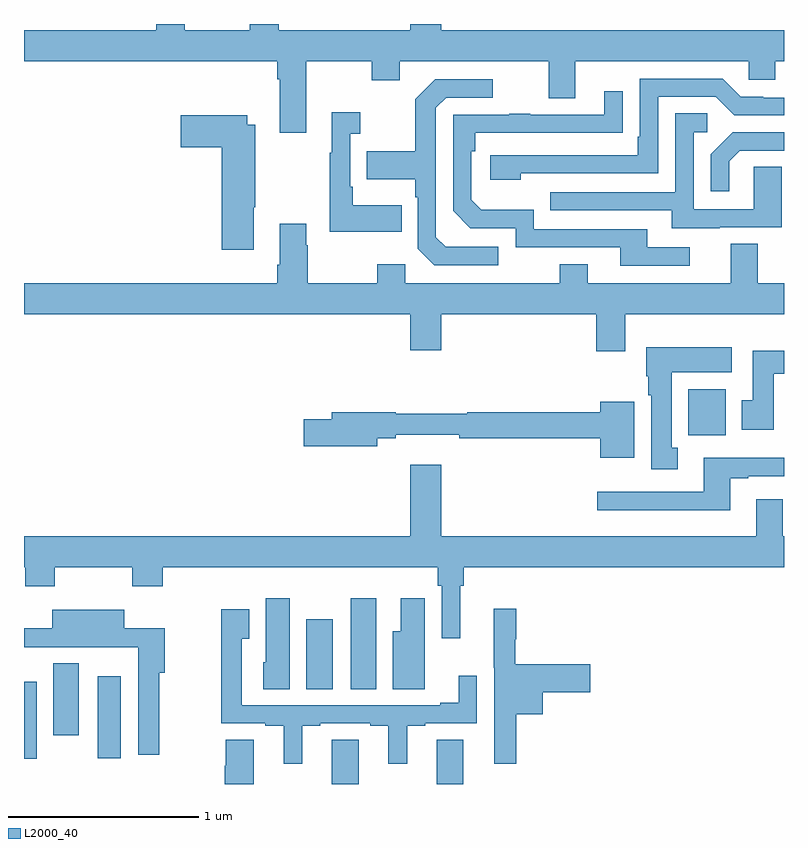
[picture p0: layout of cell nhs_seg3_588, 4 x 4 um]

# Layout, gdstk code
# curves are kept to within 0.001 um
import gdstk
lib = gdstk.Library(unit=1e-6, precision=1e-09)
def R(c, l, rs):  # rectangles x0, y0, x1, y1
    for r in rs: c.add(gdstk.rectangle(r[:2], r[2:], *l))
def P(c, l, *ps):  # polygons
    for p in ps: c.add(gdstk.Polygon(p, *l))
L2000_40 = (2000, 40)

nhs_seg3_588 = lib.new_cell('nhs_seg3_588')
R(nhs_seg3_588, L2000_40, [(140.621,742.4,140.761,742.634), (141.173,742.4,141.313,742.634), (139,742.533,139.066,742.939), (139.388,742.536,139.51,742.966), (139.154,742.656,139.288,743.035), (140.486,742.9,140.626,743.266), (140.72,742.9,140.854,743.377), (142.496,744.236,142.693,744.478)])
P(nhs_seg3_588, L2000_40, [(140.485,746.204),(140.83,746.204),(140.83,746.105),(140.977,746.105),(140.977,746.204),(141.761,746.204),(141.761,746.01),(141.901,746.01),(141.901,746.204),(142.815,746.204),(142.815,746.106),(142.953,746.106),(142.953,746.204),(143,746.204),(143,746.368),(141.196,746.368),(141.196,746.4),(141.032,746.4),(141.032,746.368),(140.342,746.368),(140.342,746.4),(140.189,746.4),(140.189,746.368),(139.845,746.368),(139.845,746.4),(139.697,746.4),(139.697,746.368),(139,746.368),(139,746.204),(140.333,746.204),(140.333,746.108),(140.345,746.108),(140.345,745.827),(140.485,745.827)],
  [(141.614,745.614),(142.338,745.614),(142.338,746.016),(142.641,746.016),(142.737,745.92),(143,745.92),(143,746.013),(142.892,746.013),(142.892,746.016),(142.773,746.016),(142.677,746.112),(142.242,746.112),(142.242,745.807),(142.229,745.807),(142.229,745.71),(141.453,745.71),(141.453,745.58),(141.614,745.58)],
  [(141.496,745.227),(141.219,745.227),(141.168,745.278),(141.168,745.959),(141.222,746.013),(141.466,746.013),(141.466,746.109),(141.165,746.109),(141.06,746.003),(141.06,745.731),(140.803,745.731),(140.803,745.583),(141.06,745.583),(141.06,745.487),(141.072,745.487),(141.072,745.218),(141.159,745.131),(141.496,745.131)],
  [(142.504,745.224),(142.279,745.224),(142.279,745.32),(141.684,745.32),(141.684,745.423),(141.407,745.423),(141.354,745.476),(141.354,745.73),(141.374,745.73),(141.374,745.827),(142.151,745.828),(142.151,746.047),(142.055,746.047),(142.055,745.923),(141.665,745.923),(141.665,745.928),(141.553,745.928),(141.553,745.923),(141.258,745.923),(141.258,745.416),(141.348,745.326),(141.588,745.326),(141.588,745.224),(142.139,745.224),(142.139,745.128),(142.504,745.128)],
  [(140.987,745.447),(140.731,745.447),(140.731,745.543),(140.718,745.543),(140.718,745.823),(140.77,745.823),(140.77,745.936),(140.621,745.936),(140.621,745.723),(140.61,745.723),(140.61,745.307),(140.987,745.307)],
  [(142.663,745.329),(142.987,745.329),(142.987,745.649),(142.842,745.649),(142.842,745.425),(142.524,745.425),(142.524,745.83),(142.597,745.83),(142.597,745.931),(142.428,745.931),(142.428,745.515),(141.769,745.515),(141.769,745.419),(142.409,745.419),(142.409,745.325),(142.663,745.325)],
  [(140.209,745.435),(140.217,745.435),(140.217,745.87),(140.176,745.87),(140.176,745.921),(139.824,745.921),(139.824,745.751),(140.042,745.751),(140.042,745.212),(140.209,745.212)],
  [(142.711,745.677),(142.768,745.734),(143,745.734),(143,745.83),(142.73,745.83),(142.614,745.714),(142.614,745.521),(142.711,745.521)],
  [(142.165,744.872),(143,744.872),(143,745.036),(142.861,745.036),(142.861,745.244),(142.721,745.244),(142.721,745.036),(141.967,745.036),(141.967,745.135),(141.82,745.135),(141.82,745.036),(141.006,745.036),(141.006,745.135),(140.86,745.135),(140.86,745.036),(140.493,745.036),(140.493,745.235),(140.485,745.235),(140.485,745.348),(140.345,745.348),(140.345,745.132),(140.333,745.132),(140.333,745.036),(139,745.036),(139,744.872),(141.032,744.872),(141.032,744.684),(141.196,744.684),(141.196,744.872),(142.013,744.872),(142.013,744.678),(142.165,744.678)],
  [(142.441,744.17),(142.408,744.17),(142.408,744.566),(142.726,744.566),(142.726,744.7),(142.274,744.7),(142.274,744.546),(142.286,744.546),(142.286,744.446),(142.301,744.446),(142.301,744.057),(142.441,744.057)],
  [(142.945,744.56),(143,744.56),(143,744.679),(142.835,744.679),(142.835,744.42),(142.778,744.42),(142.778,744.264),(142.945,744.264)],
  [(142.213,744.412),(142.034,744.412),(142.034,744.356),(141.332,744.356),(141.332,744.349),(140.956,744.349),(140.956,744.356),(140.621,744.356),(140.621,744.32),(140.472,744.32),(140.472,744.178),(140.86,744.178),(140.86,744.22),(140.956,744.22),(140.956,744.239),(141.292,744.239),(141.292,744.22),(142.034,744.22),(142.034,744.116),(142.213,744.116)],
  [(142.717,744.009),(142.813,744.009),(142.813,744.021),(143,744.021),(143,744.118),(142.577,744.118),(142.577,743.937),(142.017,743.937),(142.017,743.84),(142.717,743.84)],
  [(141.296,743.444),(141.314,743.444),(141.314,743.54),(143,743.54),(143,743.704),(142.993,743.704),(142.993,743.899),(142.853,743.899),(142.853,743.704),(141.196,743.704),(141.196,744.079),(141.032,744.079),(141.032,743.704),(139,743.704),(139,743.54),(139.006,743.54),(139.006,743.441),(139.161,743.441),(139.161,743.54),(139.57,743.54),(139.57,743.441),(139.73,743.441),(139.73,743.54),(141.178,743.54),(141.178,743.444),(141.198,743.444),(141.198,743.166),(141.296,743.166)],
  [(141.109,743.377),(140.984,743.377),(140.984,743.203),(140.942,743.203),(140.942,742.9),(141.109,742.9)],
  [(140.398,743.377),(140.273,743.377),(140.273,743.04),(140.258,743.04),(140.258,742.9),(140.398,742.9)],
  [(141.59,742.766),(141.73,742.766),(141.73,742.883),(141.979,742.883),(141.979,743.03),(141.586,743.03),(141.586,743.162),(141.59,743.162),(141.59,743.323),(141.473,743.323),(141.473,743.013),(141.474,743.013),(141.474,742.506),(141.59,742.506)],
  [(140.464,742.707),(140.56,742.707),(140.56,742.719),(140.822,742.719),(140.822,742.707),(140.918,742.707),(140.918,742.506),(141.016,742.506),(141.016,742.707),(141.112,742.707),(141.112,742.719),(141.384,742.719),(141.384,742.969),(141.287,742.969),(141.287,742.828),(141.191,742.828),(141.191,742.815),(140.145,742.815),(140.145,743.164),(140.185,743.164),(140.185,743.32),(140.037,743.32),(140.037,742.719),(140.27,742.719),(140.27,742.707),(140.366,742.707),(140.366,742.506),(140.464,742.506)],
  [(139.711,742.985),(139.74,742.985),(139.74,743.22),(139.528,743.22),(139.528,743.317),(139.148,743.317),(139.148,743.22),(139,743.22),(139,743.12),(139.052,743.12),(139.052,743.121),(139.284,743.121),(139.284,743.12),(139.602,743.12),(139.602,742.554),(139.711,742.554)],
  [(140.209,742.634),(140.062,742.634),(140.062,742.497),(140.057,742.497),(140.057,742.4),(140.209,742.4)])

lib.write_gds('nhs_seg3_588.gds')
